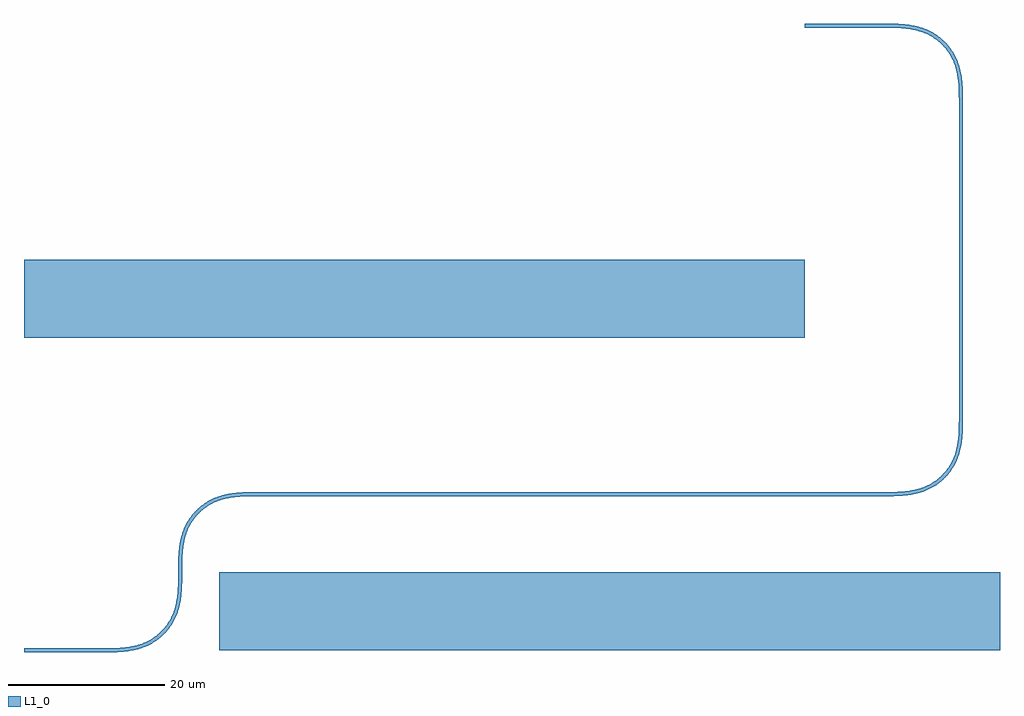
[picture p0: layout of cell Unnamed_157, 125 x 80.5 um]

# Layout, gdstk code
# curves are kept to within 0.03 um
from math import pi, radians
import gdstk
lib = gdstk.Library(unit=1e-6, precision=1e-09)
def R(c, l, rs):  # rectangles x0, y0, x1, y1
    for r in rs: c.add(gdstk.rectangle(r[:2], r[2:], *l))
def P(c, l, *ps):  # polygons
    for p in ps: c.add(gdstk.Polygon(p, *l))
L1_0 = (1, 0)

straight_l10_n2_csstrip = lib.new_cell('straight_L10_N2_CSstrip')
R(straight_l10_n2_csstrip, L1_0, [(0,-0.25,10,0.25)])

rectangle_s100_10_lwg_c_ = lib.new_cell('rectangle_S100_10_LWG_C_a58c52db')
R(rectangle_s100_10_lwg_c_, L1_0, [(0,0,100,10)])

bend_euler_r10_a90_p0p5_ = lib.new_cell('bend_euler_R10_A90_P0p5_89e2951a')
P(bend_euler_r10_a90_p0p5_, L1_0, [(0,-0.25),(0,0.25),(1.655,0.269),(2.881,0.353),(3.952,0.52),(4.99,0.806),(5.731,1.113),(6.431,1.505),(7.079,1.976),(7.575,2.425),(8.024,2.921),(8.495,3.569),(8.887,4.269),(9.194,5.01),(9.48,6.048),(9.647,7.119),(9.731,8.345),(9.75,10),(10.25,10),(10.235,8.468),(10.158,7.205),(10.023,6.224),(9.797,5.254),(9.457,4.312),(9.066,3.545),(8.5,2.715),(7.928,2.072),(7.285,1.5),(6.455,0.934),(5.688,0.543),(4.746,0.203),(3.776,-0.023),(2.795,-0.158),(1.532,-0.235)])

straight_l80_n2_csxs_34_ = lib.new_cell('straight_L80_N2_CSxs_34_70f0cb97')
R(straight_l80_n2_csxs_34_, L1_0, [(0,-0.25,80,0.25)])

straight_l40_n2_csxs_34_ = lib.new_cell('straight_L40_N2_CSxs_34_c89334cc')
R(straight_l40_n2_csxs_34_, L1_0, [(0,-0.25,40,0.25)])

unnamed_157 = lib.new_cell('Unnamed_157')
unnamed_157.add(gdstk.Reference(straight_l10_n2_csstrip, (0,0)))
unnamed_157.add(gdstk.Reference(straight_l10_n2_csstrip, (100,80)))
unnamed_157.add(gdstk.Reference(rectangle_s100_10_lwg_c_, (0,40)))
unnamed_157.add(gdstk.Reference(rectangle_s100_10_lwg_c_, (25,0)))
unnamed_157.add(gdstk.Reference(bend_euler_r10_a90_p0p5_, (20,10), rotation=3*pi/2, x_reflection=True))
unnamed_157.add(gdstk.Reference(bend_euler_r10_a90_p0p5_, (30,20), rotation=pi))
unnamed_157.add(gdstk.Reference(bend_euler_r10_a90_p0p5_, (120,30), rotation=3*pi/2, x_reflection=True))
unnamed_157.add(gdstk.Reference(straight_l80_n2_csxs_34_, (110,20), rotation=pi))
unnamed_157.add(gdstk.Reference(bend_euler_r10_a90_p0p5_, (110,80), x_reflection=True))
unnamed_157.add(gdstk.Reference(straight_l40_n2_csxs_34_, (120,70), rotation=3*pi/2))

lib.write_gds('Unnamed_157.gds')
